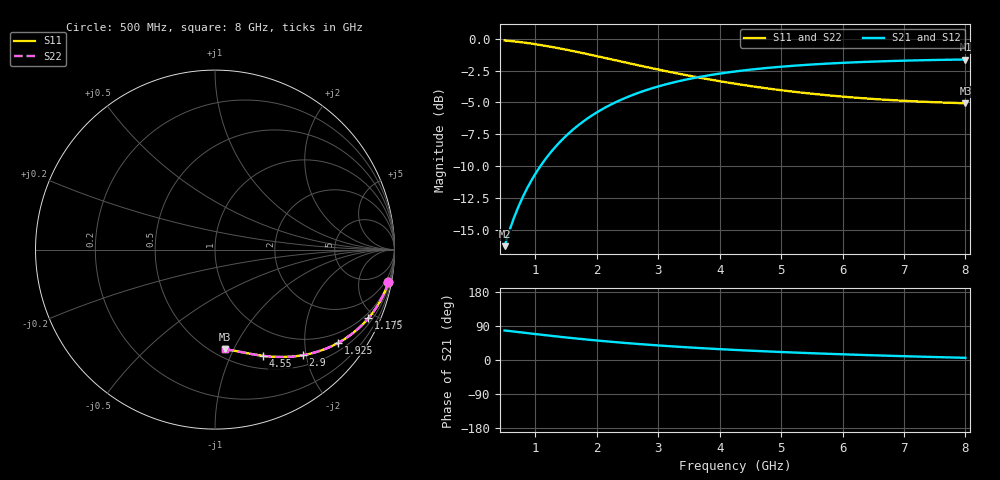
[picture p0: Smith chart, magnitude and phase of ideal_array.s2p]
! Synthetic code-0 capacitor pi network, generated by caplab.demo
# Hz S RI R 50
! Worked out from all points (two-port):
!   101 points, 500 MHz to 8 GHz, reference 50 ohm
!   highest |S21| = -1.64 dB at 8 GHz (marker M1); lowest = -16.2 dB at 500 MHz (marker M2)
!   |S21| within 3 dB of the highest: 2.468 GHz to end of sweep
!   lowest |S11| = -5.1 dB at 8 GHz (marker M3), VSWR 3.53, Z = 28.7 - j46.3 ohm
!   |S11| at or under -10 dB: nowhere
!   |S22| runs from -5.1 to -0.1 dB; largest |S21 - S12| = 0
!   S11 on the Smith chart (normalised r, x): 500 MHz: 1, -11; 1.175 GHz: 0.74, -4.56; 1.925 GHz: 0.70, -2.83; 2.9 GHz: 0.68, -1.94; 4.55 GHz: 0.65, -1.34; 8 GHz: 0.57, -0.93
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5e8  0.9664 -0.1821  0.0323 0.1507  0.0323 0.1507  0.9664 -0.1821
5.75e8  0.9575 -0.2076  0.0411 0.1715  0.0411 0.1715  0.9575 -0.2076
6.5e8  0.9475 -0.2325  0.0509 0.1917  0.0509 0.1917  0.9475 -0.2325
8e8  0.9245 -0.2799  0.0734 0.2297  0.0734 0.2297  0.9245 -0.2799
9.5e8  0.8983 -0.3239  0.0991 0.2643  0.0991 0.2643  0.8983 -0.3239
1.175e9  0.8541 -0.3828  0.1424 0.3092  0.1424 0.3092  0.8541 -0.3828
1.325e9  0.8222 -0.4174  0.1735 0.3343  0.1735 0.3343  0.8222 -0.4174
1.475e9  0.7892 -0.448  0.2057 0.3556  0.2057 0.3556  0.7892 -0.448
1.775e9  0.7217 -0.4985  0.2713 0.3874  0.2713 0.3874  0.7217 -0.4985
1.925e9  0.688 -0.5186  0.3039 0.3982  0.3039 0.3982  0.688 -0.5186
2.15e9  0.6386 -0.5432  0.3516 0.4089  0.3516 0.4089  0.6386 -0.5432
2.375e9  0.5911 -0.562  0.3971 0.4137  0.3971 0.4137  0.5911 -0.562
2.9e9  0.4903 -0.5881  0.4925 0.4076  0.4925 0.4076  0.4903 -0.5881
3.05e9  0.4643 -0.5921  0.5167 0.4024  0.5167 0.4024  0.4643 -0.5921
3.65e9  0.373 -0.5983  0.6003 0.3721  0.6003 0.3721  0.373 -0.5983
4.25e9  0.2994 -0.595  0.6649 0.3329  0.6649 0.3329  0.2994 -0.595
4.55e9  0.2681 -0.5917  0.6911 0.3117  0.6911 0.3117  0.2681 -0.5917
5e9  0.227 -0.5858  0.7241 0.2794  0.7241 0.2794  0.227 -0.5858
5.525e9  0.1862 -0.5786  0.7546 0.2419  0.7546 0.2419  0.1862 -0.5786
6.125e9  0.1469 -0.571  0.781 0.2002  0.781 0.2002  0.1469 -0.571
6.8e9  0.1098 -0.564  0.8022 0.1557  0.8022 0.1557  0.1098 -0.564
8e9  0.0563 -0.5558  0.8242 0.0833  0.8242 0.0833  0.0563 -0.5558
